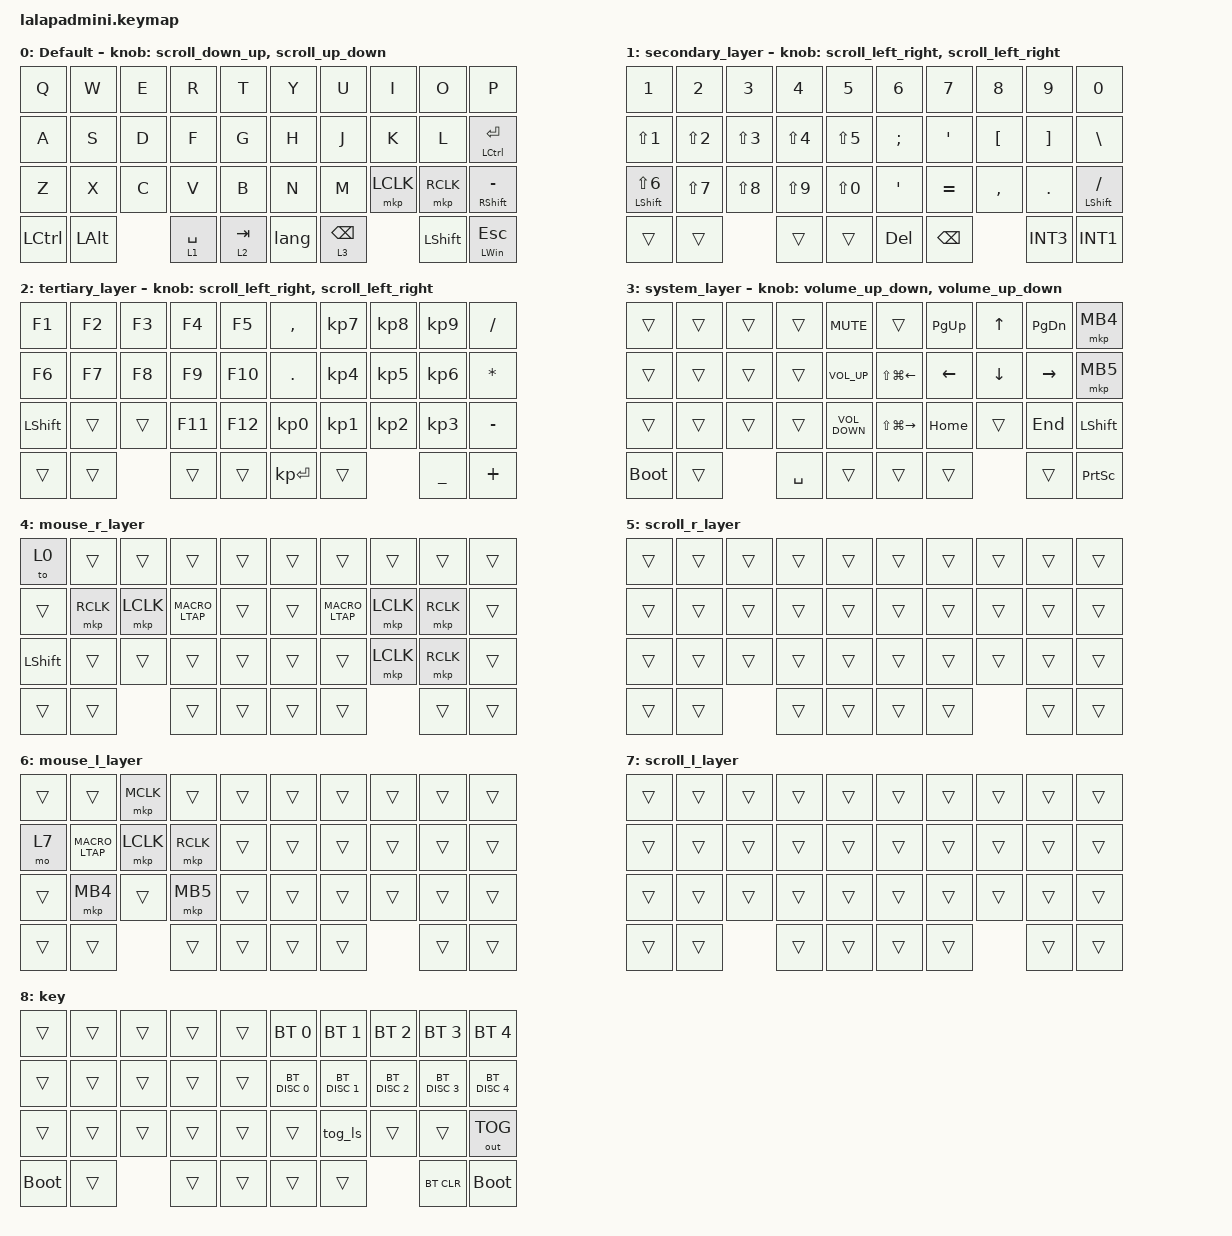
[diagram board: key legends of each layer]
#include <input/processors.dtsi>
#include <behaviors.dtsi>
#include <dt-bindings/zmk/bt.h>
#include <dt-bindings/zmk/keys.h>
#include <dt-bindings/zmk/outputs.h>
#include <dt-bindings/zmk/pointing.h>

#include <layout_shift_kp_override.dtsi>
// &kp EQUAL      通常は = を出力するが、JISレイアウトでは _ (JISレイアウトでの = に対応)を出力する
// &tog_ls        レイアウトシフトのオン/オフを切り替え
// &tog_ls_on     レイアウトシフトをオンにする
// &tog_ls_off    レイアウトシフトをオフにする


#define DEFAULT_LAYER   0
#define SECONDARY_LAYER 1
#define TERTIARY_LAYER  2
#define SYSTEM_LAYER    3
#define MOUSE_R_LAYER   4
#define SCROLL_R_LAYER  5
#define MOUSE_L_LAYER   6
#define SCROLL_L_LAYER  7
#define KEY_LAYER       8

// OS設定を日本語キーボードのまま使用するための変換定義

#define JP_DQUOTE       AT                // "
#define JP_AMPERSAND    CARET             // &
#define JP_QUOTE        AMPERSAND         // '
#define JP_EQUAL        UNDER             // =
#define JP_CARET        EQUAL             // ^
#define JP_YEN          0x89              // ¥
#define JP_PLUS         COLON             // +
#define JP_TILDE        PLUS              // ~
#define JP_PIPE         LS(0x89)          // |
#define JP_AT           LEFT_BRACKET      // @
#define JP_COLON        SINGLE_QUOTE      // :
#define JP_ASTERISK     DOUBLE_QUOTES     // *
#define JP_BACKQUOTE    LEFT_BRACE        // `
#define JP_UNDERSCORE   LS(0x87)          // _
#define JP_LBRACKET     RIGHT_BRACKET     // [
#define JP_RBRACKET     BACKSLASH         // ]
#define JP_LPAREN       ASTERISK          // (
#define JP_RPAREN       LEFT_PARENTHESIS  // )
#define JP_LBRACE       RIGHT_BRACE       // {
#define JP_RBRACE       PIPE              // }
#define JP_KANA         LANGUAGE_1        // かな
#define JP_EISU         LANGUAGE_2        // 英数
#define JP_HANZEN       GRAVE             // 半角/全角

// Mouse Scroll Value

#define ZMK_POINTING_DEFAULT_SCRL_VAL 100

// cirque trackpad input&layer control

&glidepoint_listener_R {
    input-processors =
        <&zip_xy_transform (INPUT_TRANSFORM_XY_SWAP | INPUT_TRANSFORM_X_INVERT | INPUT_TRANSFORM_Y_INVERT)>,
        <&zip_xy_scaler 2 1>,
        <&zip_temp_layer MOUSE_R_LAYER 600>;

    lowspeedmode {
        layers = <SECONDARY_LAYER>;
        input-processors =
            <&zip_xy_transform (INPUT_TRANSFORM_XY_SWAP | INPUT_TRANSFORM_X_INVERT | INPUT_TRANSFORM_Y_INVERT)>,
            <&zip_xy_scaler 3 2>,
            <&zip_temp_layer MOUSE_R_LAYER 600>;
    };

    scroller {
        layers = <SCROLL_R_LAYER>;
        input-processors =
            <&zip_xy_to_scroll_mapper>,
            <&zip_scroll_transform (INPUT_TRANSFORM_XY_SWAP | INPUT_TRANSFORM_Y_INVERT)>,
            <&zip_scroll_scaler 1 32>;
    };
};

&glidepoint_listener_L {
    input-processors =
        <&zip_xy_transform (INPUT_TRANSFORM_XY_SWAP | INPUT_TRANSFORM_X_INVERT | INPUT_TRANSFORM_Y_INVERT)>,
        <&zip_xy_scaler 3 2>,
        <&zip_temp_layer MOUSE_L_LAYER 300>;

    lowspeedmode {
        layers = <TERTIARY_LAYER>;
        input-processors =
            <&zip_xy_transform (INPUT_TRANSFORM_XY_SWAP | INPUT_TRANSFORM_X_INVERT | INPUT_TRANSFORM_Y_INVERT)>,
            <&zip_xy_scaler 3 4>,
            <&zip_temp_layer MOUSE_L_LAYER 300>;
    };

    scroller {
        layers = <SCROLL_L_LAYER>;
        input-processors =
            <&zip_xy_to_scroll_mapper>,
            <&zip_scroll_transform (INPUT_TRANSFORM_XY_SWAP | INPUT_TRANSFORM_Y_INVERT)>,
            <&zip_scroll_scaler 1 32>;
    };
};

&mt { quick-tap-ms = <200>; };

&lt { quick-tap-ms = <200>; };

/ {
    behaviors {
        // Encoder to Mouse Scroll

        scroll_up_down: behavior_sensor_rotate_mouse_wheel_up_down {
            compatible = "zmk,behavior-sensor-rotate";
            #sensor-binding-cells = <0>;
            bindings = <&msc SCRL_UP>, <&msc SCRL_DOWN>;

            tap-ms = <20>;
        };

        scroll_down_up: behavior_sensor_rotate_mouse_wheel_down_up {
            compatible = "zmk,behavior-sensor-rotate";
            #sensor-binding-cells = <0>;
            bindings = <&msc SCRL_DOWN>, <&msc SCRL_UP>;

            tap-ms = <20>;
        };

        scroll_left_right: behavior_sensor_rotate_mouse_wheel_left_right {
            compatible = "zmk,behavior-sensor-rotate";
            #sensor-binding-cells = <0>;
            bindings = <&msc SCRL_LEFT>, <&msc SCRL_RIGHT>;

            tap-ms = <20>;
        };

        scroll_right_left: behavior_sensor_rotate_mouse_wheel_right_left {
            compatible = "zmk,behavior-sensor-rotate";
            #sensor-binding-cells = <0>;
            bindings = <&msc SCRL_RIGHT>, <&msc SCRL_LEFT>;

            tap-ms = <20>;
        };

        volume_up_down: behavior_sensor_rotate_volume_up_down {
            compatible = "zmk,behavior-sensor-rotate";
            #sensor-binding-cells = <0>;
            bindings = <&kp C_VOLUME_UP>, <&kp C_VOLUME_DOWN>;

            tap-ms = <20>;
        };

        mt2: mod_tap2 {
            compatible = "zmk,behavior-hold-tap";
            #binding-cells = <2>;
            flavor = "tap-preferred";
            tapping-term-ms = <200>;
            quick-tap-ms = <200>;
            require-prior-idle-ms = <125>;
            bindings = <&kp>, <&kp>;
        };

        tap_dance_layer_1and2: tap_dance_layer_1and2 {
            compatible = "zmk,behavior-tap-dance";
            label = "td_mo12";
            #binding-cells = <0>;
            bindings = <&mo 1>, <&mo 2>;
        };

        lang: lang {
            compatible = "zmk,behavior-tap-dance";
            label = "LANG";
            #binding-cells = <0>;
            bindings = <&kp LANG1>, <&kp LANG2>;
        };
    };

    combos {
        compatible = "zmk,combos";

        CONBO_Scroolk {
            bindings = <&mo 5>;
            key-positions = <17 18>;
        };

        CONBO_Scrool2 {
            bindings = <&mo 5>;
            key-positions = <12 11>;
        };

        CONBO_shift {
            bindings = <&kp LEFT_SHIFT>;
            key-positions = <30 32>;
        };

        CONBO_Scrool3 {
            bindings = <&mo 5>;
            key-positions = <27 28>;
        };
    };

    macros {
        MACRO_LTAP: MACRO_LTAP {
            compatible = "zmk,behavior-macro";
            #binding-cells = <0>;
            bindings = <&mkp LCLK>;
            label = "MACRO_LTAP";
        };
    };

    keymap {
        compatible = "zmk,keymap";

        DEFAULT_LAYER {
            display-name = "Default";
            sensor-bindings = <&scroll_down_up>, <&scroll_up_down>;

            bindings = <
&kp Q      &kp W         &kp E  &kp R        &kp T      &kp Y  &kp U            &kp I      &kp O           &kp P
&kp A      &kp S         &kp D  &kp F        &kp G      &kp H  &kp J            &kp K      &kp L           &mt2 LEFT_CONTROL ENTER
&kp Z      &kp X         &kp C  &kp V        &kp B      &kp N  &kp M            &mkp LCLK  &mkp RCLK       &mt RSHIFT MINUS
&kp LCTRL  &kp LEFT_ALT         &lt 1 SPACE  &lt 2 TAB  &lang  &lt 3 BACKSPACE             &kp LEFT_SHIFT  &mt LEFT_WIN ESC
            >;
        };

        SECONDARY_LAYER {
            display-name = "secondary_layer";
            sensor-bindings = <&scroll_left_right>, <&scroll_left_right>;

            bindings = <
&kp NUMBER_1                  &kp NUMBER_2      &kp NUMBER_3      &kp NUMBER_4      &kp NUMBER_5      &kp NUMBER_6      &kp NUMBER_7      &kp NUMBER_8      &kp NUMBER_9       &kp NUMBER_0
&kp LS(NUMBER_1)              &kp LS(NUMBER_2)  &kp LS(NUMBER_3)  &kp LS(NUMBER_4)  &kp LS(NUMBER_5)  &kp SEMICOLON     &kp SINGLE_QUOTE  &kp LEFT_BRACKET  &kp RIGHT_BRACKET  &kp BACKSLASH
&mt2 LEFT_SHIFT LS(NUMBER_6)  &kp LS(NUMBER_7)  &kp LS(NUMBER_8)  &kp LS(NUMBER_9)  &kp LS(NUMBER_0)  &kp SINGLE_QUOTE  &kp EQUAL         &kp COMMA         &kp DOT            &mt2 LEFT_SHIFT SLASH
&trans                        &trans                              &trans            &trans            &kp DELETE        &kp BACKSPACE                       &kp INT3           &kp INT1
            >;
        };

        TERTIARY_LAYER {
            display-name = "tertiary_layer";
            bindings = <
&kp F1          &kp F2  &kp F3  &kp F4   &kp F5   &kp COMMA        &kp KP_NUMBER_7  &kp KP_NUMBER_8  &kp KP_NUMBER_9  &kp SLASH
&kp F6          &kp F7  &kp F8  &kp F9   &kp F10  &kp DOT          &kp KP_NUMBER_4  &kp KP_NUMBER_5  &kp KP_NUMBER_6  &kp ASTERISK
&kp LEFT_SHIFT  &trans  &trans  &kp F11  &kp F12  &kp KP_NUMBER_0  &kp KP_NUMBER_1  &kp KP_NUMBER_2  &kp KP_NUMBER_3  &kp MINUS
&trans          &trans          &trans   &trans   &kp KP_ENTER     &trans                            &kp JP_EQUAL     &kp PLUS
            >;

            sensor-bindings = <&scroll_left_right>, <&scroll_left_right>;
        };

        SYSTEM_LAYER {
            display-name = "system_layer";
            sensor-bindings = <&volume_up_down>, <&volume_up_down>;

            bindings = <
&trans       &trans  &trans  &trans     &kp C_MUTE         &trans                   &kp PAGE_UP     &kp UP_ARROW    &kp PAGE_DOWN    &mkp MB4
&trans       &trans  &trans  &trans     &kp C_VOLUME_UP    &kp LS(LG(LEFT_ARROW))   &kp LEFT_ARROW  &kp DOWN_ARROW  &kp RIGHT_ARROW  &mkp MB5
&trans       &trans  &trans  &trans     &kp C_VOLUME_DOWN  &kp LS(LG(RIGHT_ARROW))  &kp HOME        &trans          &kp END          &kp LEFT_SHIFT
&bootloader  &trans          &kp SPACE  &trans             &trans                   &trans                          &trans           &kp PRINTSCREEN
            >;
        };

        MOUSE_R_LAYER {
            display-name = "mouse_r_layer";
            bindings = <
&to 0           &trans     &trans     &trans       &trans  &trans  &trans       &trans     &trans     &trans
&trans          &mkp RCLK  &mkp LCLK  &MACRO_LTAP  &trans  &trans  &MACRO_LTAP  &mkp LCLK  &mkp RCLK  &trans
&kp LEFT_SHIFT  &trans     &trans     &trans       &trans  &trans  &trans       &mkp LCLK  &mkp RCLK  &trans
&trans          &trans                &trans       &trans  &trans  &trans                  &trans     &trans
            >;
        };

        SCROLL_R_LAYER {
            display-name = "scroll_r_layer";
            bindings = <
&trans  &trans  &trans  &trans  &trans  &trans  &trans  &trans  &trans  &trans
&trans  &trans  &trans  &trans  &trans  &trans  &trans  &trans  &trans  &trans
&trans  &trans  &trans  &trans  &trans  &trans  &trans  &trans  &trans  &trans
&trans  &trans          &trans  &trans  &trans  &trans          &trans  &trans
            >;
        };

        MOUSE_L_LAYER {
            display-name = "mouse_l_layer";
            bindings = <
&trans  &trans       &mkp MCLK  &trans     &trans  &trans  &trans  &trans  &trans  &trans
&mo 7   &MACRO_LTAP  &mkp LCLK  &mkp RCLK  &trans  &trans  &trans  &trans  &trans  &trans
&trans  &mkp MB4     &trans     &mkp MB5   &trans  &trans  &trans  &trans  &trans  &trans
&trans  &trans                  &trans     &trans  &trans  &trans          &trans  &trans
            >;
        };

        SCROLL_L_LAYER {
            display-name = "scroll_l_layer";
            bindings = <
&trans  &trans  &trans  &trans  &trans  &trans  &trans  &trans  &trans  &trans
&trans  &trans  &trans  &trans  &trans  &trans  &trans  &trans  &trans  &trans
&trans  &trans  &trans  &trans  &trans  &trans  &trans  &trans  &trans  &trans
&trans  &trans          &trans  &trans  &trans  &trans          &trans  &trans
            >;
        };

        KEY_LAYER {
            bindings = <
&trans       &trans  &trans  &trans  &trans  &bt BT_SEL 0   &bt BT_SEL 1   &bt BT_SEL 2   &bt BT_SEL 3   &bt BT_SEL 4
&trans       &trans  &trans  &trans  &trans  &bt BT_DISC 0  &bt BT_DISC 1  &bt BT_DISC 2  &bt BT_DISC 3  &bt BT_DISC 4
&trans       &trans  &trans  &trans  &trans  &trans         &tog_ls        &trans         &trans         &out OUT_TOG
&bootloader  &trans          &trans  &trans  &trans         &trans                        &bt BT_CLR     &bootloader
            >;

            label = "key";
        };
    };

    conditional_layers {
        compatible = "zmk,conditional-layers";

        System_layer {
            if-layers = <1 2>;
            then-layer = <8>;
        };
    };
};
